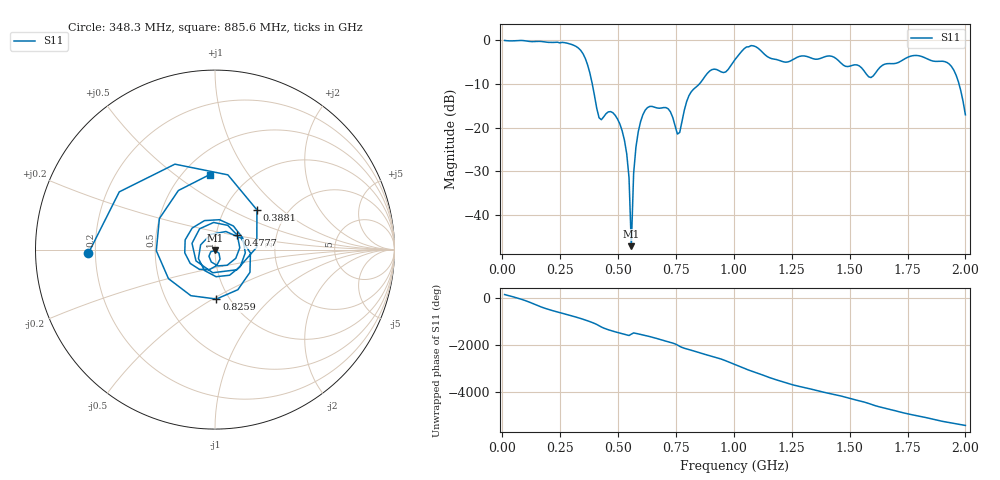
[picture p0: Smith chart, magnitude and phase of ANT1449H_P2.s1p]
!Created with skrf (http://scikit-rf.org).
# Hz S RI R 50.0
!freq ReS11 ImS11
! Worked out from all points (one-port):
!   201 points, 10 MHz to 2 GHz, reference 50 ohm
!   lowest |S11| = -47.2 dB at 557.2 MHz (marker M1), VSWR 1.01, Z = 50 - j0.436 ohm
!   |S11| at or under -10 dB: 388.6 MHz to 850.8 MHz (462.2 MHz wide, 74.6 % of centre); 1.972 GHz to end of sweep
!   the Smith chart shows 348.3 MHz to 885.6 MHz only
!   S11 on the Smith chart (normalised r, x): 348.3 MHz: 0.17, -0.01; 388.1 MHz: 1.41, +0.70; 477.6 MHz: 1.27, +0.21; 825.9 MHz: 0.87, -0.52; 885.6 MHz: 0.67, +0.68
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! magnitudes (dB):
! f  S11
! 10 MHz  0.0
! 258.8 MHz  -0.5
! 348.3 MHz  -3.0
! 388.1 MHz  -9.8
! 417.9 MHz  -17.8
! 477.6 MHz  -16.6
! 507.5 MHz  -19.1
! 527.4 MHz  -22.8
! 547.3 MHz  -31.5
! 557.2 MHz  -47.2
! 567.2 MHz  -30.5
! 587.1 MHz  -21.0
! 607 MHz  -17.1
! 716.5 MHz  -15.7
! 756.2 MHz  -21.5
! 825.9 MHz  -11.2
! 885.6 MHz  -7.6
! 965.2 MHz  -7.2
! 1.005 GHz  -4.4
! 1.075 GHz  -1.2
! 1.254 GHz  -4.5
! 1.413 GHz  -3.6
! 1.502 GHz  -5.9
! 1.592 GHz  -8.5
! 1.751 GHz  -3.9
! 1.93 GHz  -5.4
! 1.97 GHz  -9.5
! 2 GHz  -17.1
